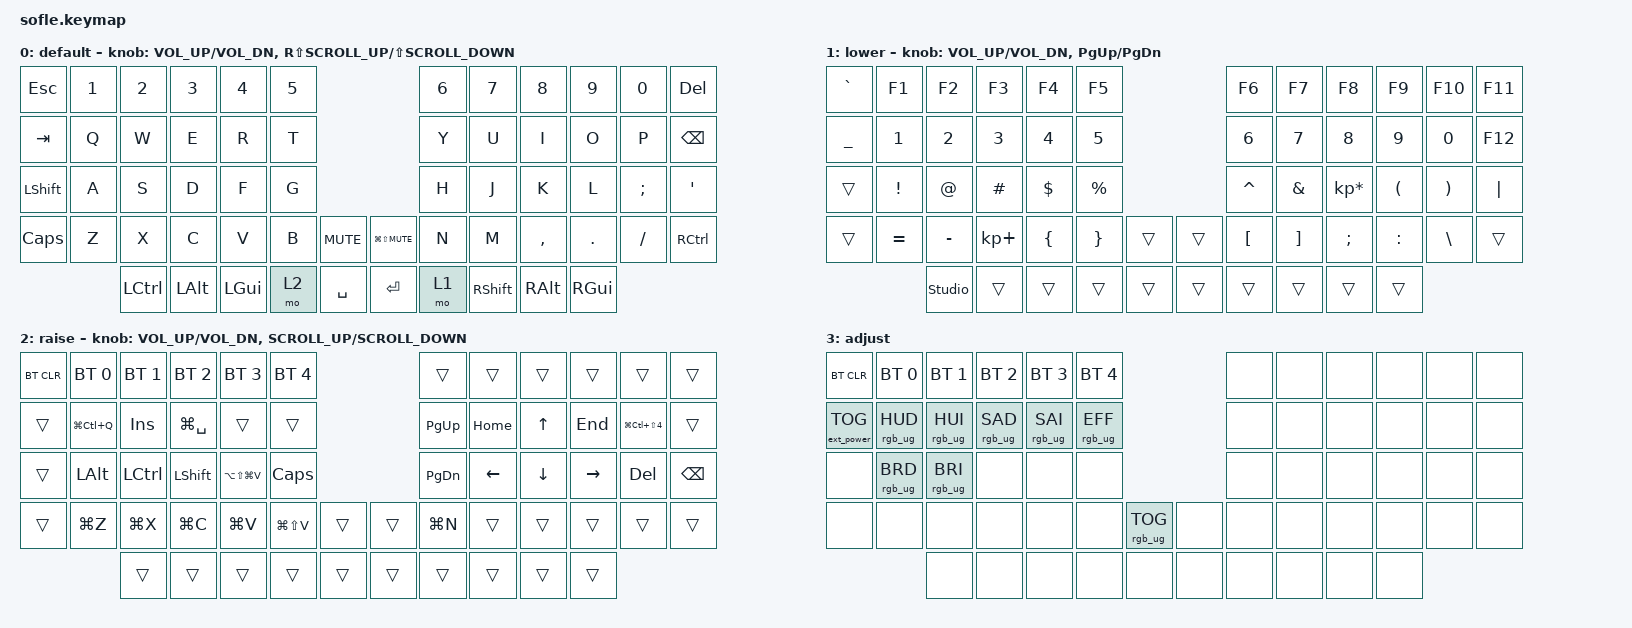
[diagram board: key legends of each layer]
/*
 * Copyright (c) 2020 The ZMK Contributors
 *
 * SPDX-License-Identifier: MIT
 */

#include <behaviors.dtsi>
#include <dt-bindings/zmk/bt.h>
#include <dt-bindings/zmk/ext_power.h>
#include <dt-bindings/zmk/keys.h>
#include <dt-bindings/zmk/rgb.h>

#define BASE 0
#define LOWER 1
#define RAISE 2
#define ADJUST 3

/ {
    // Activate ADJUST layer by pressing raise and lower

    conditional_layers {
        compatible = "zmk,conditional-layers";

        adjust_layer {
            if-layers = <LOWER RAISE>;
            then-layer = <ADJUST>;
        };
    };

    keymap {
        compatible = "zmk,keymap";

        default_layer {
            label = "default";

            // ------------------------------------------------------------------------------------------------------------
            // |   `   |  1  |  2  |  3   |  4   |  5   |                   |  6   |  7    |  8    |  9   |   0   |       |
            // |  ESC  |  Q  |  W  |  E   |  R   |  T   |                   |  Y   |  U    |  I    |  O   |   P   | BKSPC |
            // |  TAB  |  A  |  S  |  D   |  F   |  G   |                   |  H   |  J    |  K    |  L   |   ;   |   '   |
            // | SHIFT |  Z  |  X  |  C   |  V   |  B   |  MUTE  |  |       |  N   |  M    |  ,    |  .   |   /   | SHIFT |
            //               | GUI | ALT  | CTRL | LOWER|  ENTER |  | SPACE | RAISE| CTRL  | ALT   | GUI  |

            bindings = <
&kp ESC         &kp N1  &kp N2     &kp N3    &kp N4        &kp N5                                    &kp N6  &kp N7           &kp N8     &kp N9    &kp N0    &kp DELETE
&kp TAB         &kp Q   &kp W      &kp E     &kp R         &kp T                                     &kp Y   &kp U            &kp I      &kp O     &kp P     &kp BSPC
&kp LEFT_SHIFT  &kp A   &kp S      &kp D     &kp F         &kp G                                     &kp H   &kp J            &kp K      &kp L     &kp SEMI  &kp SQT
&kp CAPSLOCK    &kp Z   &kp X      &kp C     &kp V         &kp B   &kp C_MUTE    &kp LG(LS(K_MUTE))  &kp N   &kp M            &kp COMMA  &kp DOT   &kp FSLH  &kp RCTRL
                        &kp LCTRL  &kp LALT  &kp LEFT_GUI  &mo 2   &kp SPACE     &kp ENTER           &mo 1   &kp RIGHT_SHIFT  &kp RALT   &kp RGUI
            >;

            sensor-bindings =
                <&inc_dec_kp C_VOL_UP C_VOL_DN>,
                <&inc_dec_kp RS(K_SCROLL_UP) LS(K_SCROLL_DOWN)>;
        };

        lower_layer {
            label = "lower";

            // TODO: Some binds are waiting for shifted keycode support.
            // ------------------------------------------------------------------------------------------------------------
            // |       |  F1 |  F2 |  F3  |  F4  |  F5  |                   |  F6  |  F7   |  F8   |  F9  |  F10  |  F11  |
            // |   `   |  1  |  2  |  3   |  4   |  5   |                   |  6   |  7    |  8    |  9   |   0   |  F12  |
            // |       |  !  |  @  |  #   |  $   |  %   |                   |  ^   |  &    |  *    |  (   |   )   |   |   |
            // |       |  =  |  -  |  +   |  {   |  }   |        |  |       |  [   |  ]    |  ;    |  :   |   \   |       |
            //               |     |      |      |      |        |  |       |      |       |       |      |

            bindings = <
&kp GRAVE  &kp F1     &kp F2          &kp F3       &kp F4    &kp F5                       &kp F6     &kp F7    &kp F8           &kp F9     &kp F10   &kp F11
&kp UNDER  &kp N1     &kp N2          &kp N3       &kp N4    &kp N5                       &kp N6     &kp N7    &kp N8           &kp N9     &kp N0    &kp F12
&trans     &kp EXCL   &kp AT          &kp HASH     &kp DLLR  &kp PRCNT                    &kp CARET  &kp AMPS  &kp KP_MULTIPLY  &kp LPAR   &kp RPAR  &kp PIPE
&trans     &kp EQUAL  &kp MINUS       &kp KP_PLUS  &kp LBRC  &kp RBRC   &trans    &trans  &kp LBKT   &kp RBKT  &kp SEMI         &kp COLON  &kp BSLH  &trans
                      &studio_unlock  &trans       &trans    &trans     &trans    &trans  &trans     &trans    &trans           &trans
            >;

            sensor-bindings = <&inc_dec_kp C_VOL_UP C_VOL_DN &inc_dec_kp PG_UP PG_DN>;
        };

        raise_layer {
            label = "raise";

            // ------------------------------------------------------------------------------------------------------------
            // | BTCLR | BT1  | BT2  |  BT3  |  BT4  |  BT5 |                |      |      |       |      |       |       |
            // |       | INS  | PSCR | GUI   |       |      |                | PGUP |      |   ^   |      |       |       |
            // |       | ALT  | CTRL | SHIFT |       | CAPS |                | PGDN |   <- |   v   |  ->  |  DEL  | BKSPC |
            // |       | UNDO | CUT  | COPY  | PASTE |      |      |  |      |      |      |       |      |       |       |
            //                |      |       |       |      |      |  |      |      |      |       |      |

            bindings = <
&bt BT_CLR  &bt BT_SEL 0   &bt BT_SEL 1  &bt BT_SEL 2   &bt BT_SEL 3       &bt BT_SEL 4                     &trans     &trans    &trans    &trans     &trans                    &trans
&trans      &kp LG(LC(Q))  &kp INSERT    &kp LG(SPACE)  &trans             &trans                           &kp PG_UP  &kp HOME  &kp UP    &kp END    &kp LG(LC(LS(NUMBER_4)))  &trans
&trans      &kp LALT       &kp LCTRL     &kp LSHFT      &kp LA(LS(LG(V)))  &kp CLCK                         &kp PG_DN  &kp LEFT  &kp DOWN  &kp RIGHT  &kp DEL                   &kp BSPC
&trans      &kp LG(Z)      &kp LG(X)     &kp LG(C)      &kp LG(V)          &kp LG(LS(V))  &trans    &trans  &kp LG(N)  &trans    &trans    &trans     &trans                    &trans
                           &trans        &trans         &trans             &trans         &trans    &trans  &trans     &trans    &trans    &trans
            >;

            sensor-bindings =
                <&inc_dec_kp C_VOL_UP C_VOL_DN>,
                <&inc_dec_kp K_SCROLL_UP K_SCROLL_DOWN>;
        };

        adjust_layer {
            // ----------------------------------------------------------------------------------------------------------------------------
            // | BTCLR  |  BT1    |  BT2    |   BT3   |   BT4   |   BT5   |                  |      |      |       |      |       |       |
            // | EXTPWR | RGB_HUD | RGB_HUI | RGB_SAD | RGB_SAI | RGB_EFF |                  |      |      |       |      |       |       |
            // |        | RGB_BRD | RGB_BRI |         |         |         |                  |      |      |       |      |       |       |
            // |        |         |         |         |         |         | RGB_TOG | |      |      |      |       |      |       |       |
            //                    |         |         |         |         |         | |      |      |      |       |      |

            label = "adjust";
            bindings = <
&bt BT_CLR         &bt BT_SEL 0     &bt BT_SEL 1     &bt BT_SEL 2     &bt BT_SEL 3     &bt BT_SEL 4                               &none  &none  &none  &none  &none  &none
&ext_power EP_TOG  &rgb_ug RGB_HUD  &rgb_ug RGB_HUI  &rgb_ug RGB_SAD  &rgb_ug RGB_SAI  &rgb_ug RGB_EFF                            &none  &none  &none  &none  &none  &none
&none              &rgb_ug RGB_BRD  &rgb_ug RGB_BRI  &none            &none            &none                                      &none  &none  &none  &none  &none  &none
&none              &none            &none            &none            &none            &none            &rgb_ug RGB_TOG    &none  &none  &none  &none  &none  &none  &none
                                    &none            &none            &none            &none            &none              &none  &none  &none  &none  &none
            >;
        };
    };
};
